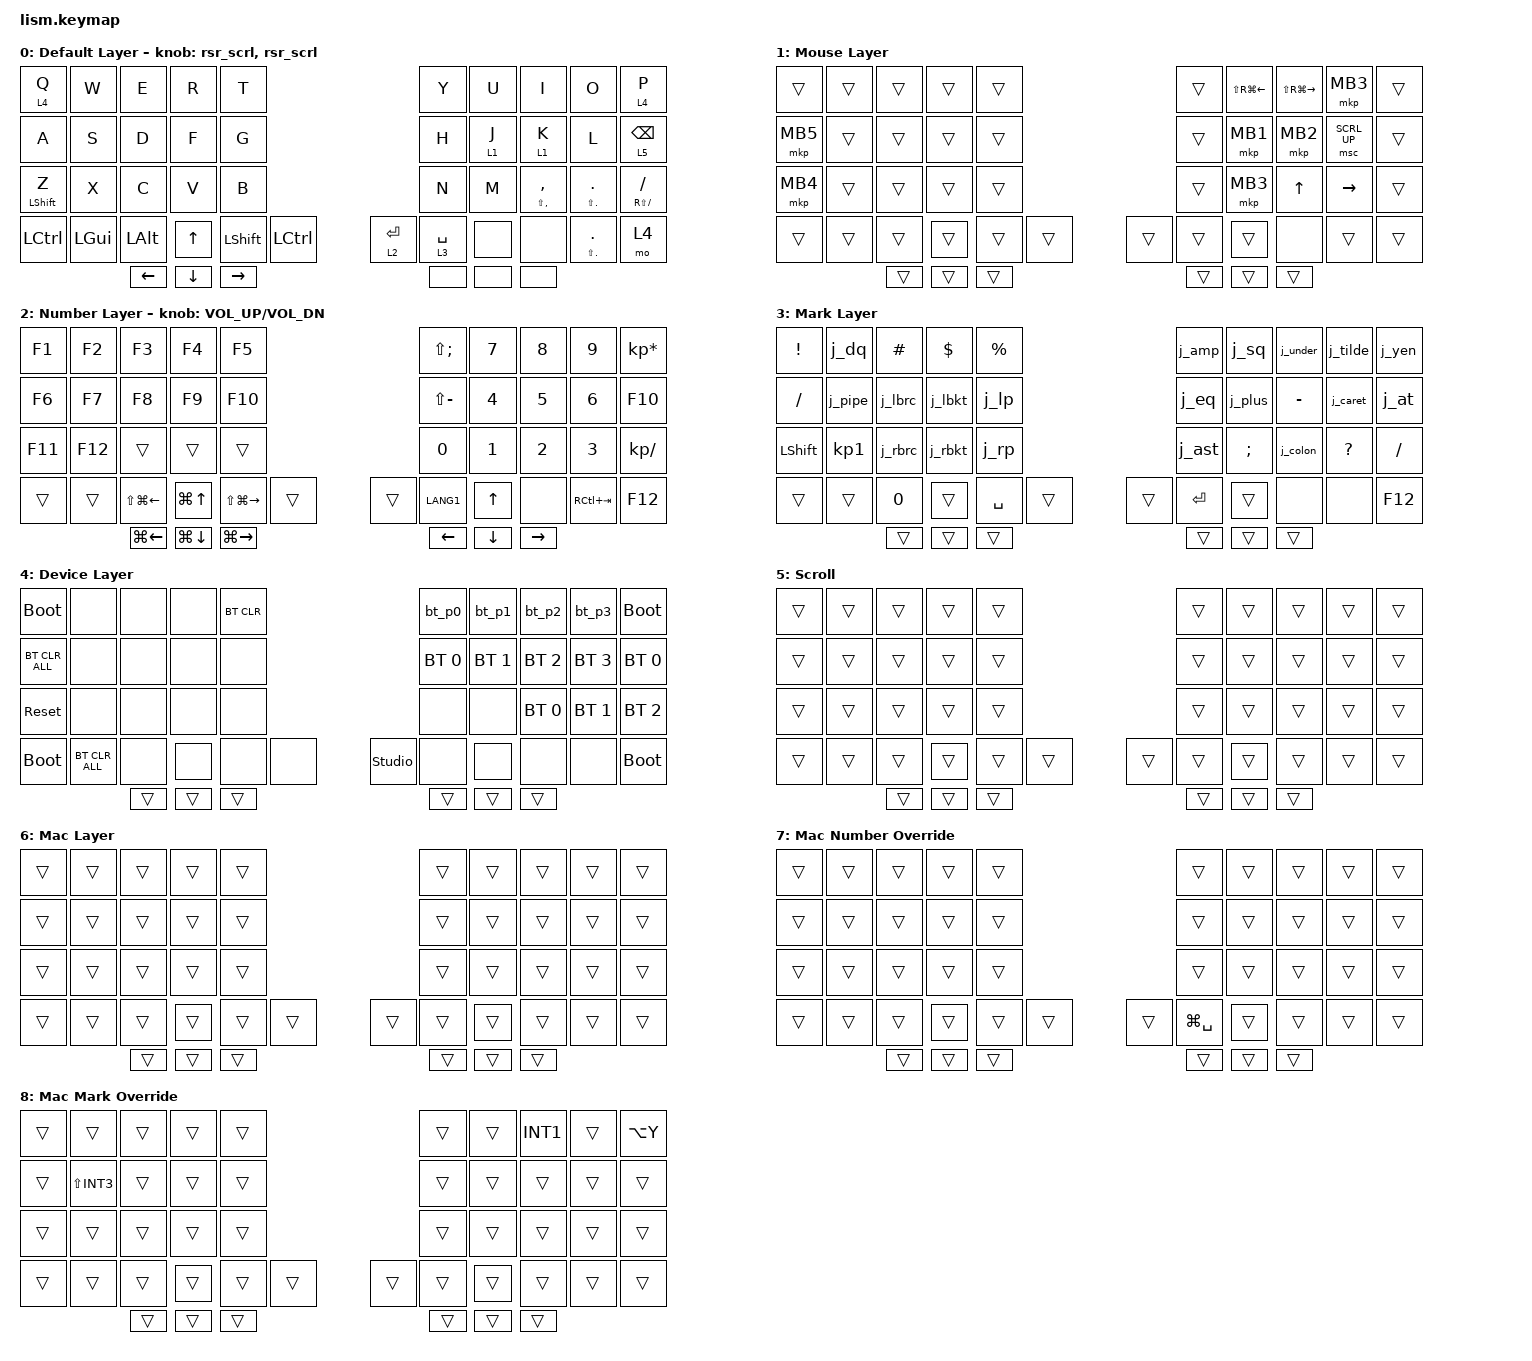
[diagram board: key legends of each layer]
#define ZMK_POINTING_DEFAULT_SCRL_VAL 200
#define MAC 6
#define MAC_NUMBER 7
#define MAC_MARK 8

#include <behaviors.dtsi>
#include <dt-bindings/zmk/bt.h>
#include <dt-bindings/zmk/keys.h>
#include <dt-bindings/zmk/pointing.h>
#include <dt-bindings/zmk/mouse.h>
#include <behaviors/runtime-sensor-rotate.dtsi>
#include <behaviors/default_layer.dtsi>
#include <dt-bindings/zmk_behavior_default_layer/default_layer.h>

&mt {
    tapping-term-ms = <200>;
    flavor = "balanced";
};

&lt {
    quick-tap-ms = <300>;
};

/ {
    conditional_layers {
        compatible = "zmk,conditional-layers";
        mac_number_layer {
            if-layers = <MAC 2>;
            then-layer = <MAC_NUMBER>;
        };
        mac_mark_layer {
            if-layers = <MAC 3>;
            then-layer = <MAC_MARK>;
        };
    };
};

/ {
    combos {
        compatible = "zmk,combos";
        /* DYA Studioのランタイムコンボはレイヤー判定が効かないため、Mac専用スクショは */
        /* コンパイル済みの通常ZMKコンボとして実装(R+T、Mac Layer時のみ) */
        screenshot_mac { bindings = <&kp LC(LS(LG(N4)))>; key-positions = <3 4>; layers = <MAC>; };
        hankaku_zenkaku_mac { bindings = <&kp LG(SPACE)>; key-positions = <12 13>; layers = <MAC>; };

        /* 2026-11-19: NVS破損からの復旧にあたり、実機のDYA Studioランタイムコンボ13個のうち */
        /* Mac専用2個(上記で既存)を除く11個をコンパイル済みコンボとして焼き込み(settings_reset後も消えないように) */
        esc_combo { bindings = <&kp ESC>; key-positions = <0 1>; };
        back_combo { bindings = <&kp BACKSPACE>; key-positions = <8 9>; };
        delete_combo { bindings = <&kp DELETE>; key-positions = <7 8>; };
        insert_combo { bindings = <&kp INSERT>; key-positions = <6 7>; };
        /* 2026-11-20: ランタイムコンボのレイヤー判定がdefault-layer(&df DF_SEL経由のMacモード)を */
        /* 正しく拾えず、Mac専用のレイヤー制限付きランタイムコンボ(16+17/17+18)が発動しないと判明。 */
        /* screenshot_mac等と同様にコンパイル済みコンボとして実装。16+18=F10はランタイムのまま */
        /* (レイヤー制限なしで競合しないため)。書き込み前にFamiがDYAのPrevious/Forward/ */
        /* Mac Previous/Mac Forwardの4つ(ランタイムコンボ)を削除する予定。 */
        mac_back { bindings = <&kp LC(LEFT)>; key-positions = <16 17>; layers = <MAC>; };
        mac_forward { bindings = <&kp LC(RIGHT)>; key-positions = <17 18>; layers = <MAC>; };
        /* Mac以外(screenshot_mac/hankaku_zenkaku_macと同じ位置だが対象レイヤーがMac Layerを除く全レイヤーで排他) */
        screenshot_win_combo { bindings = <&kp PRINTSCREEN>; key-positions = <3 4>; layers = <0 1 2 3 4 5 7>; };
        hanzen_win_combo { bindings = <&kp GRAVE>; key-positions = <12 13>; layers = <0 1 2 3 4 5 7>; };
        win_back { bindings = <&kp C_AC_BACK>; key-positions = <16 17>; layers = <0 1 2 3 4 5 7>; };
        win_forward { bindings = <&kp C_AC_FORWARD>; key-positions = <17 18>; layers = <0 1 2 3 4 5 7>; };
        emoji_combo { bindings = <&kp LG(DOT)>; key-positions = <1 3>; };
        tab_combo { bindings = <&kp TAB>; key-positions = <11 12>; };
        mo_scroll_combo { bindings = <&mo 5>; key-positions = <36 37>; };
    };
};

/ {
    macros {
        emoji: emoji_macro {
            compatible = "zmk,behavior-macro";
            label = "EMOJI";
            #binding-cells = <0>;
            bindings =
                <&macro_press &kp CAPSLOCK>,
                <&macro_tap &kp E>,
                <&macro_release &kp CAPSLOCK>;
        };

        /* BTプロファイル切替に連動してMacモード(MACレイヤー)をON/OFFする */
        /* zmk-feature-default-layerの&df DF_SELはエンドポイントごとにデフォルトレイヤーを */
        /* 記憶・自動再適用する(central.confのCONFIG_ZMK_DEFAULT_LAYER_MAX_INDEXで層6まで許可済み) */
        /* BT_SEL直後はまだ選択中エンドポイントが切り替わっていないことがあるため、 */
        /* DF_SELの前に待ち時間を挟んで確実に新エンドポイントに適用されるようにする */
        bt_p0: bt_p0 { label = "BT_P0"; compatible = "zmk,behavior-macro"; #binding-cells = <0>; bindings = <&bt BT_SEL 0>, <&macro_wait_time 150>, <&df DF_SEL 0>; };
        bt_p1: bt_p1 { label = "BT_P1"; compatible = "zmk,behavior-macro"; #binding-cells = <0>; bindings = <&bt BT_SEL 1>, <&macro_wait_time 150>, <&df DF_SEL MAC>; };
        bt_p2: bt_p2 { label = "BT_P2"; compatible = "zmk,behavior-macro"; #binding-cells = <0>; bindings = <&bt BT_SEL 2>, <&macro_wait_time 150>, <&df DF_SEL 0>; };
        bt_p3: bt_p3 { label = "BT_P3"; compatible = "zmk,behavior-macro"; #binding-cells = <0>; bindings = <&bt BT_SEL 3>, <&macro_wait_time 150>, <&df DF_SEL 0>; };
        bt_p4: bt_p4 { label = "BT_P4"; compatible = "zmk,behavior-macro"; #binding-cells = <0>; bindings = <&bt BT_SEL 4>, <&macro_wait_time 150>, <&df DF_SEL 0>; };

        /* 2026-11-19: Mark LayerのJIS記号復元用、LiNEA40(config/LiNEA40.keymap)の */
        /* 同名マクロを3x5配置のままLisMに移植(famio-eng/zmk-config-LiNEA40参照) */
        j_dq: j_dq { label = "DQ"; compatible = "zmk,behavior-macro"; #binding-cells = <0>; bindings = <&kp LS(N2)>; };
        j_amp: j_amp { label = "AMP"; compatible = "zmk,behavior-macro"; #binding-cells = <0>; bindings = <&kp LS(N6)>; };
        j_sq: j_sq { label = "SQ"; compatible = "zmk,behavior-macro"; #binding-cells = <0>; bindings = <&kp LS(N7)>; };
        j_eq: j_eq { label = "EQ"; compatible = "zmk,behavior-macro"; #binding-cells = <0>; bindings = <&kp LS(MINUS)>; };
        j_caret: j_cr { label = "CARET"; compatible = "zmk,behavior-macro"; #binding-cells = <0>; bindings = <&kp EQUAL>; };
        j_plus: j_plus { label = "PLUS"; compatible = "zmk,behavior-macro"; #binding-cells = <0>; bindings = <&kp COLON>; };
        j_tilde: j_tilde { label = "TILDE"; compatible = "zmk,behavior-macro"; #binding-cells = <0>; bindings = <&kp PLUS>; };
        j_yen: j_yen { label = "YEN"; compatible = "zmk,behavior-macro"; #binding-cells = <0>; bindings = <&kp INT1>; };
        j_pipe: j_pipe { label = "PIPE"; compatible = "zmk,behavior-macro"; #binding-cells = <0>; bindings = <&kp LS(INT1)>; };
        j_at: j_at { label = "AT"; compatible = "zmk,behavior-macro"; #binding-cells = <0>; bindings = <&kp LBKT>; };
        j_colon: j_colon { label = "COLON"; compatible = "zmk,behavior-macro"; #binding-cells = <0>; bindings = <&kp SQT>; };
        j_ast: j_ast { label = "AST"; compatible = "zmk,behavior-macro"; #binding-cells = <0>; bindings = <&kp LS(SQT)>; };
        j_under: j_under { label = "UNDER"; compatible = "zmk,behavior-macro"; #binding-cells = <0>; bindings = <&kp LS(INT1)>; };
        j_lbkt: j_lbkt { label = "L_BKT"; compatible = "zmk,behavior-macro"; #binding-cells = <0>; bindings = <&kp RBKT>; };
        j_lp: j_lp { label = "L_PAREN"; compatible = "zmk,behavior-macro"; #binding-cells = <0>; bindings = <&kp ASTRK>; };
        j_lbrc: j_lbrc { label = "L_BRACE"; compatible = "zmk,behavior-macro"; #binding-cells = <0>; bindings = <&kp RIGHT_BRACE>; };
        j_rbrc: j_rbrc { label = "R_BRACE"; compatible = "zmk,behavior-macro"; #binding-cells = <0>; bindings = <&kp LS(BSLH)>; };
        j_rbkt: j_rbkt { label = "R_BKT"; compatible = "zmk,behavior-macro"; #binding-cells = <0>; bindings = <&kp BACKSLASH>; };
        j_rp: j_rp { label = "R_PAREN"; compatible = "zmk,behavior-macro"; #binding-cells = <0>; bindings = <&kp LEFT_PARENTHESIS>; };
    };

    behaviors {
        encoder_kp: sensor_rotate_kp {
            compatible = "zmk,behavior-sensor-rotate-var";
            #sensor-binding-cells = <2>;
            bindings = <&kp>, <&kp>;
        };

        rsr_scrl: rsr_scrl {
            compatible = "zmk,behavior-runtime-sensor-rotate";
            #sensor-binding-cells = <0>;
            tap-ms = <20>;
            cw-binding = <&msc SCRL_DOWN>;
            ccw-binding = <&msc SCRL_UP>;
        };
    };

    keymap {
        compatible = "zmk,keymap";

        /* 2026-11-19: 右側centralのNVS破損・settings_resetで実機のDYA Studioライブ編集 */
        /* (gitには存在しなかった実際の使用中キーマップ)が消失したため、過去セッションの */
        /* スクリーンショットを基にdefault/Number/Device Layerを実機の配置に復元。 */
        /* 詳細はdocs/restore-2026-11-19/ のスクショと変更報告を参照。 */
        default_layer {
            display-name = "Default Layer";
            bindings = <
                &lt 4 Q          &kp W              &kp E                 &kp R                   &kp T                                                  &kp Y          &kp U            &kp I              &kp O               &lt 4 P
                &kp A            &kp S              &kp D                 &kp F                   &kp G                                                  &kp H          &lt 1 J          &lt 1 K            &kp L               &lt 5 BACKSPACE
                &mt LSHIFT Z     &kp X              &kp C                 &kp V                   &kp B                                                  &kp N          &kp M            &mt LS(COMMA) COMMA &mt LS(DOT) DOT    &mt RS(SLASH) SLASH
                &kp LCTRL        &kp LGUI           &kp LALT              &kp UP                  &kp LSHIFT        &kp LCTRL           &lt 2 ENTER      &lt 3 SPACE    &none            &none              &mt LS(DOT) DOT     &mo 4
                                                    &kp LEFT              &kp DOWN                &kp RIGHT                                              &none          &none            &none
            >;
            sensor-bindings = <&rsr_scrl &rsr_scrl>;
        };

        /* 2026-11-19: 実機のDYA Studioエクスポート(2026-09-30スクショ、docs/restore-2026-11-19/
           mouse-layer-2026-09-30.png)どおりに修正。旧git版はpos18/19にSCRL_UP/SCRL_DOWNが
           入っており、一時レイヤーでMouse Layerが有効な間にScrollレイヤーアクセスキー
           (pos19 = lt 5 BACKSPACE)を押すとスクロールダウン連打になってしまっていた。 */
        layer_1 {
            display-name = "Mouse Layer";
            bindings = <
                &trans           &trans             &trans                &trans                  &trans                                                 &trans         &kp LS(RG(LEFT)) &kp LS(RG(RIGHT))  &mkp MB3            &trans
                &mkp MB5         &trans             &trans                &trans                  &trans                                                 &trans         &mkp MB1         &mkp MB2           &msc SCRL_UP        &trans
                &mkp MB4         &trans             &trans                &trans                  &trans                                                 &trans         &mkp MB3         &kp UP             &kp RIGHT           &trans
                /* この位置はDefault LayerのDevice Layerアクセスキー(row4右端)と共有。 */
                /* Mouse Layerがアクティブな間にこのキーを押すとLG(W)(Win+W=ウィジェット)が */
                /* 優先されてDevice Layerに入れなくなるため、&transにしてDevice Layer */
                /* アクセスを常に優先させる */
                &trans           &trans             &trans                &trans                  &trans            &trans              &trans           &trans         &trans           &none              &trans              &trans
                                                    &trans                &trans                  &trans                                                 &trans         &trans           &trans
            >;
        };

        layer_2 {
            display-name = "Number Layer";
            bindings = <
                &kp F1           &kp F2             &kp F3                &kp F4                  &kp F5                                                 &kp LS(SEMICOLON) &kp NUMBER_7  &kp NUMBER_8       &kp NUMBER_9        &kp KP_MULTIPLY
                &kp F6           &kp F7             &kp F8                &kp F9                  &kp F10                                                &kp LS(MINUS)  &kp NUMBER_4     &kp NUMBER_5       &kp NUMBER_6        &kp F10
                &kp F11          &kp F12            &trans                &trans                  &trans                                                 &kp NUMBER_0   &kp NUMBER_1     &kp NUMBER_2       &kp NUMBER_3        &kp KP_DIVIDE
                &trans           &trans             &kp LS(LG(LEFT))      &kp LG(UP)              &kp LS(LG(RIGHT)) &trans              &trans           &kp LANG1      &kp UP           &none              &kp RC(TAB)         &kp F12
                                                    &kp LG(LEFT)          &kp LG(DOWN)            &kp LG(RIGHT)                                          &kp LEFT       &kp DOWN         &kp RIGHT
            >;
            sensor-bindings = <&encoder_kp C_VOL_UP C_VOL_DN>;
        };

        /* 2026-11-19: Famiの指摘(2026-08-01にLiNEA40で行ったJIS配列の差異解消作業と同じ */
        /* 方針を踏襲)を受け、LiNEA40(famio-eng/zmk-config-LiNEA40)のMARKレイヤーを */
        /* 3x5配置のままそのまま移植(コミットf7638bf、Projects/keyboard/LiNEA40.md参照)。 */
        /* LiNEA40と物理ボードが異なるため、JISキーコードが同様に機能するかは実機で要確認。 */
        layer_3 {
            display-name = "Mark Layer";
            bindings = <
                &kp EXCLAMATION  &j_dq              &kp HASH              &kp DOLLAR              &kp PERCENT                                            &j_amp         &j_sq            &j_under           &j_tilde            &j_yen
                &kp SLASH        &j_pipe            &j_lbrc               &j_lbkt                 &j_lp                                                  &j_eq          &j_plus          &kp MINUS          &j_caret            &j_at
                &kp LSHIFT       &kp KP_NUMBER_1    &j_rbrc               &j_rbkt                 &j_rp                                                  &j_ast         &kp SEMICOLON    &j_colon           &kp QUESTION        &kp SLASH
                &trans           &trans             &kp NUMBER_0          &trans                  &kp SPACE         &trans              &trans           &kp ENTER      &trans           &none              &none               &kp F12
                                                    &trans                &trans                  &trans                                                 &trans         &trans           &trans
            >;
        };

        /* 2026-11-19: 実機のDYA Studio(2026-08-17時点)スクリーンショットを基に復元。 */
        /* BT_P0〜P3(bt_p0〜p3マクロ、Macレイヤー連動含む)をrow1に、素のBT SELを */
        /* row2/row3にも重複配置(バックアップ用の別経路)。BT_P4は使用していない。 */
        layer_4 {
            display-name = "Device Layer";
            bindings = <
                &bootloader      &none              &none                 &none                   &bt BT_CLR                                             &bt_p0         &bt_p1           &bt_p2             &bt_p3              &bootloader
                &bt BT_CLR_ALL   &none              &none                 &none                   &none                                                  &bt BT_SEL 0   &bt BT_SEL 1     &bt BT_SEL 2       &bt BT_SEL 3        &bt BT_SEL 0
                &sys_reset       &none              &none                 &none                   &none                                                  &none          &none            &bt BT_SEL 0       &bt BT_SEL 1        &bt BT_SEL 2
                &bootloader      &bt BT_CLR_ALL     &none                 &none                   &none             &none               &studio_unlock   &none          &none            &none              &none               &bootloader
                                                    &trans                &trans                  &trans                                                 &trans         &trans           &trans
            >;
        };

        /* 2026-11-19: 実機では「Scroll」という表示名。gitの旧表示名「Brank Layer」から変更。 */
        /* このレイヤー自体のキー割当はスクショが無く未確認(全trans=現状維持)。Famiに確認要。 */
        layer_5 {
            display-name = "Scroll";
            bindings = <
                &trans           &trans             &trans                &trans                  &trans                                                 &trans       &trans           &trans             &trans              &trans
                &trans           &trans             &trans                &trans                  &trans                                                 &trans       &trans           &trans             &trans              &trans
                &trans           &trans             &trans                &trans                  &trans                                                 &trans       &trans           &trans             &trans              &trans
                &trans           &trans             &trans                &trans                  &trans            &trans              &trans           &trans       &trans           &trans             &trans              &trans
                                                    &trans                &trans                  &trans                                                 &trans       &trans           &trans
            >;
        };

        layer_6 {
            display-name = "Mac Layer";
            bindings = <
                &trans           &trans             &trans                &trans                  &trans                                                 &trans       &trans           &trans             &trans              &trans
                &trans           &trans             &trans                &trans                  &trans                                                 &trans       &trans           &trans             &trans              &trans
                &trans           &trans             &trans                &trans                  &trans                                                 &trans       &trans           &trans             &trans              &trans
                &trans           &trans             &trans                &trans                  &trans            &trans              &trans           &trans       &trans           &trans             &trans              &trans
                                                    &trans                &trans                  &trans                                                 &trans       &trans           &trans
            >;
        };

        layer_7 {
            display-name = "Mac Number Override";
            bindings = <
                &trans           &trans             &trans                &trans                  &trans                                                 &trans       &trans           &trans             &trans              &trans
                &trans           &trans             &trans                &trans                  &trans                                                 &trans       &trans           &trans             &trans              &trans
                &trans           &trans             &trans                &trans                  &trans                                                 &trans       &trans           &trans             &trans              &trans
                &trans           &trans             &trans                &trans                  &trans            &trans              &trans           &kp LG(SPACE)  &trans           &trans             &trans              &trans
                                                    &trans                &trans                  &trans                                                 &trans       &trans           &trans
            >;
        };

        /* 2026-11-19: LiNEA40のMAC_MARKレイヤーを移植。MacモードかつMark Layer中のみ、 */
        /* j_under/j_yen/j_pipeの3箇所だけをMac向けの出力に上書きする(conditional-layers)。 */
        layer_8 {
            display-name = "Mac Mark Override";
            bindings = <
                &trans           &trans             &trans                &trans                  &trans                                                 &trans       &trans           &kp INT1           &trans              &kp LA(Y)
                &trans           &kp LS(INT3)       &trans                &trans                  &trans                                                 &trans       &trans           &trans             &trans              &trans
                &trans           &trans             &trans                &trans                  &trans                                                 &trans       &trans           &trans             &trans              &trans
                &trans           &trans             &trans                &trans                  &trans            &trans              &trans           &trans       &trans           &trans             &trans              &trans
                                                    &trans                &trans                  &trans                                                 &trans       &trans           &trans
            >;
        };
    };

};
